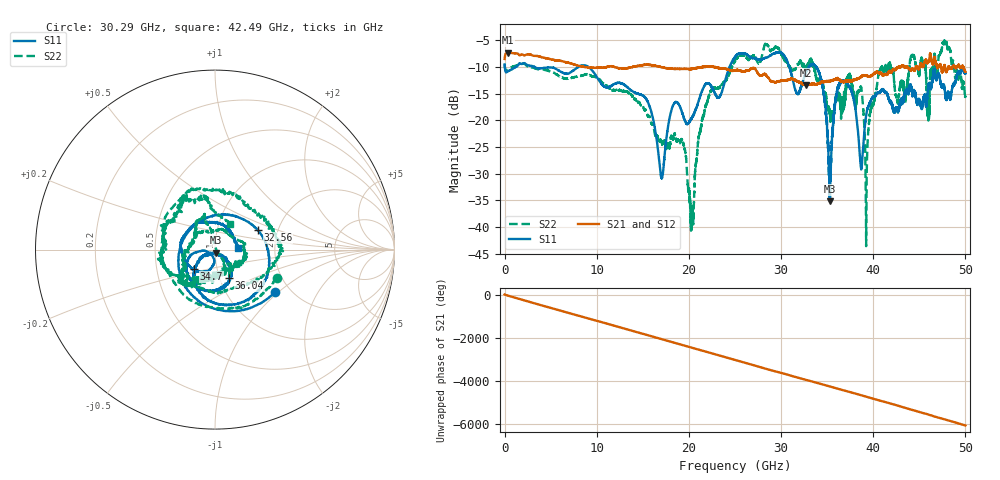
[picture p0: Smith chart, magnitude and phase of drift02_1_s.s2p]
!Created with skrf (http://scikit-rf.org).
# Hz S RI R 50.0
!freq ReS11 ImS11 ReS21 ImS21 ReS12 ImS12 ReS22 ImS22
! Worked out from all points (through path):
!   10001 points, 300 kHz to 50 GHz, reference 50 ohm
!   highest |S21| = -7.32 dB at 325.3 MHz (marker M1); lowest = -13.4 dB at 32.71 GHz (marker M2)
!   group delay of S21, straight-line fit = 335 ps
!   lowest |S11| = -35.2 dB at 35.31 GHz (marker M3), VSWR 1.04, Z = 50.5 - j1.66 ohm
!   |S11| at or under -10 dB: 3.24 GHz to 8.007 GHz (4.767 GHz wide, 84.8 % of centre); 9.106 GHz to 24.41 GHz (15.31 GHz wide, 91.3 % of centre); 33.83 GHz to end of sweep (the widest 3 of 11)
!   |S22| runs from -43.6 to -5.0 dB; largest |S21 - S12| = 0.014
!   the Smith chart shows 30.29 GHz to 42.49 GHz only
!   S11 on the Smith chart (normalised r, x): 30.29 GHz: 1.66, -0.95; 32.56 GHz: 1.57, +0.37; 34.7 GHz: 0.77, -0.17; 36.04 GHz: 1.11, -0.36; 42.49 GHz: 1.29, +0.02
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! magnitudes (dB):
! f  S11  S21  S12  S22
! 300 kHz  -9.5  -8.5  -8.4  -9.5
! 325.3 MHz  -10.9  -7.3  -7.3  -10.6
! 8.335 GHz  -9.7  -9.9  -9.9  -11.6
! 16.67 GHz  -25.9  -9.9  -9.9  -23.6
! 19.35 GHz  -18.9  -10.4  -10.4  -24.1
! 20.34 GHz  -19.5  -10.4  -10.4  -37.1
! 21.94 GHz  -13.1  -10.0  -9.9  -16.7
! 25 GHz  -8.1  -10.7  -10.7  -8.9
! 30.29 GHz  -7.8  -12.6  -12.6  -8.4
! 32.56 GHz  -11.6  -13.3  -13.3  -10.0
! 32.71 GHz  -11.0  -13.4  -13.5  -10.3
! 33.34 GHz  -9.6  -13.2  -13.2  -8.9
! 34.7 GHz  -16.0  -12.8  -12.7  -14.6
! 35.31 GHz  -35.2  -12.6  -12.5  -19.1
! 36.04 GHz  -15.1  -12.3  -12.2  -16.3
! 37.59 GHz  -14.3  -12.7  -12.7  -12.8
! 38.59 GHz  -27.4  -12.0  -12.0  -13.8
! 39.3 GHz  -18.4  -11.6  -11.6  -30.1
! 41.67 GHz  -15.9  -11.0  -11.1  -9.9
! 42.49 GHz  -18.0  -10.3  -10.3  -15.5
! 47.76 GHz  -14.3  -9.8  -9.8  -5.2
! 50 GHz  -11.2  -10.9  -10.9  -15.3
